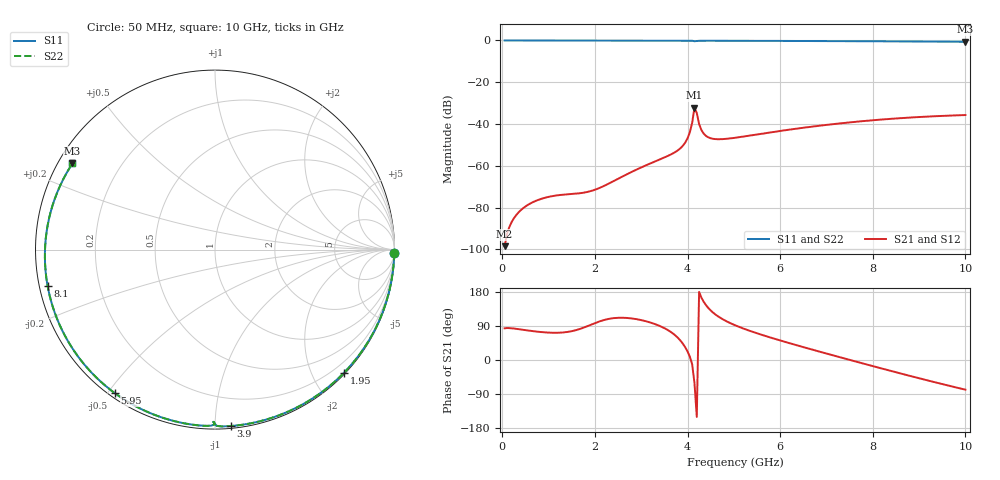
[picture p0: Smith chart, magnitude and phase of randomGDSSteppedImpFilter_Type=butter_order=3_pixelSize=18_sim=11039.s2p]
! freq	dB(S11)	phase(S11)	dB(S12)	phase(S12)
!  dB(S21)	phase(S21)	dB(S22)	phase(S22)
!S-par simulation data
#  GHz  S  DB  R 50
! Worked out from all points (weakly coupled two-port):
!   200 points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, 50 MHz to 10 GHz, reference 50 ohm
!   highest |S21| = -32.16 dB at 4.15 GHz (marker M1); lowest = -98.5 dB at 50 MHz (marker M2)
!   lowest |S11| = -0.6 dB at 10 GHz (marker M3), VSWR 26.79, Z = 2.01 + j13.9 ohm
!   |S11| at or under -10 dB: nowhere
!   |S22| runs from -0.6 to 0.0 dB; largest |S21 - S12| = 0
!   S11 on the Smith chart (normalised r, x): 50 MHz: 2, -97; 1.95 GHz: 0.02, -2.49; 3.9 GHz: 0.01, -1.09; 5.95 GHz: 0.02, -0.52; 8.1 GHz: 0.02, -0.11; 10 GHz: 0.04, +0.28
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0.05  -0.00 -1.2  -98.45 83.7  -98.45 83.7  -0.00 -1.2
0.45  -0.02 -10.3  -80.29 79.7  -80.29 79.7  -0.02 -10.3
0.95  -0.03 -21.6  -75.12 72.6  -75.12 72.6  -0.03 -21.6
1.75  -0.05 -39.4  -72.88 85.1  -72.88 85.1  -0.05 -39.4
1.95  -0.06 -43.8  -71.83 94.9  -71.83 94.9  -0.06 -43.8
3.4  -0.10 -74.6  -56.96 89.8  -56.96 89.8  -0.10 -74.5
3.9  -0.11 -84.9  -50.37 42.8  -50.37 42.8  -0.11 -84.9
4.05  -0.13 -88.2  -43.95 8.8  -43.95 8.8  -0.13 -88.2
4.1  -0.16 -89.5  -39.38 -11.3  -39.38 -11.3  -0.16 -89.5
4.15  -0.36 -90.5  -32.16 -61.0  -32.16 -61.0  -0.36 -90.5
4.2  -0.24 -89.9  -34.73 -150.1  -34.73 -150.1  -0.24 -89.9
4.25  -0.17 -91.2  -39.99 179.8  -39.99 179.8  -0.17 -91.2
4.3  -0.15 -92.4  -42.90 164.4  -42.90 164.4  -0.15 -92.4
4.4  -0.14 -94.5  -45.70 144.5  -45.70 144.5  -0.14 -94.5
4.65  -0.15 -99.6  -47.27 115.9  -47.27 115.9  -0.15 -99.5
5.05  -0.17 -107.5  -46.50 90.5  -46.50 90.5  -0.17 -107.5
5.95  -0.22 -125.0  -43.47 53.4  -43.47 53.4  -0.22 -125.0
6.7  -0.27 -139.6  -41.21 27.2  -41.21 27.2  -0.27 -139.5
8.1  -0.41 -167.7  -38.01 -19.4  -38.01 -19.4  -0.40 -167.6
8.35  -0.43 -172.9  -37.57 -27.5  -37.57 -27.5  -0.43 -172.9
9.2  -0.54 168.2  -36.41 -54.4  -36.41 -54.4  -0.54 168.3
10  -0.65 148.8  -35.70 -78.3  -35.70 -78.3  -0.65 148.8
